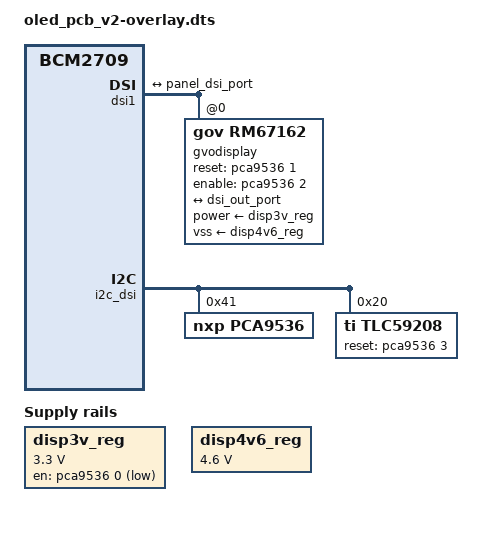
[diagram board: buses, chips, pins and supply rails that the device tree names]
/*
 * Device Tree overlay for gov-400 panel 
 *
 */

/dts-v1/;
/plugin/;

/ {
	compatible = "brcm,bcm2835", "brcm,bcm2708", "brcm,bcm2709";

        fragment@1 {
		target-path = "/";
		__overlay__  {
	                disp3v_reg: display_3v {
				compatible = "regulator-fixed";
			        regulator-name = "disp-3v-supply";
				regulator-min-microvolt = <3300000>;
				regulator-max-microvolt = <3300000>;
		                gpio = <&pca9536 0 1>;
				regulator-boot-on;
			};

	                disp4v6_reg: display_4v6 {
				compatible = "regulator-fixed";
				regulator-name = "disp-4v6-supply";
				regulator-min-microvolt = <4600000>;
				regulator-max-microvolt = <4600000>;
//				** This is handled by the enable IO control in the driver since we need
//                               * to turn on the regulator once the panel has been initialized
//		                gpio = <&pca9536 2 0>;
			};
                };
        };


	fragment@2 {
		target = <&dsi1>;
		__overlay__  {
			#address-cells = <1>;
			#size-cells = <0>;
			status = "okay";

                        port {
                                dsi_out_port: endpoint {
                                        remote-endpoint = <&panel_dsi_port>;
                                };
                        };

			gvodisplay: gvo-display@0 {
				compatible = "gov,rm67162";
				reg = <0>;
		                reset-gpio = <&pca9536 1 0>;
		                enable-gpio = <&pca9536 2 0>;
				power-supply = <&disp3v_reg>;
				vss-supply = <&disp4v6_reg>;
                                port {
                                        panel_dsi_port: endpoint {
                                                remote-endpoint = <&dsi_out_port>;
                                        };
                                };
			};
		};

	};

        fragment@6 {
                target = <&i2c_dsi>;
                __overlay__ {
                        #address-cells = <1>;
                        #size-cells = <0>;
                        status = "okay";



                        pca9536: gpio@41 {
                                compatible = "nxp,pca9536";
                                gpio-controller;
				#gpio-cells = <2>;
                                reg = <0x41>;

                                display_vcc_ctrl: display_vcc_ctrl {
                                        gpios = <0 0>;
                                        output-low;
                                        line-name="display_vcc_pin";
                                };

                                display_reset: display_reset {
                                        gpios = <1 0>;
                                        output-low;
                                        line-name="display_reset_pin";
                                };

                                display_vss_ctrl: display_vss_ctrl {
                                        gpios = <2 0>;
                                        output-low;
                                        line-name="display_vss_pin";
                                };

                                led_reset: led_reset {
                                        gpios = <&pca9536 3 0>;
                                        output-low;
                                        line-name="led_reset_pin";
                                };
			};

			tlc59208: tlc59208@20 {
				#address-cells = <1>;
				#size-cells = <0>;
				compatible = "ti,tlc59208";
				reg = <0x20>;
				reset-gpio = <&pca9536 3 0>;
                        };
                };

        };

};
